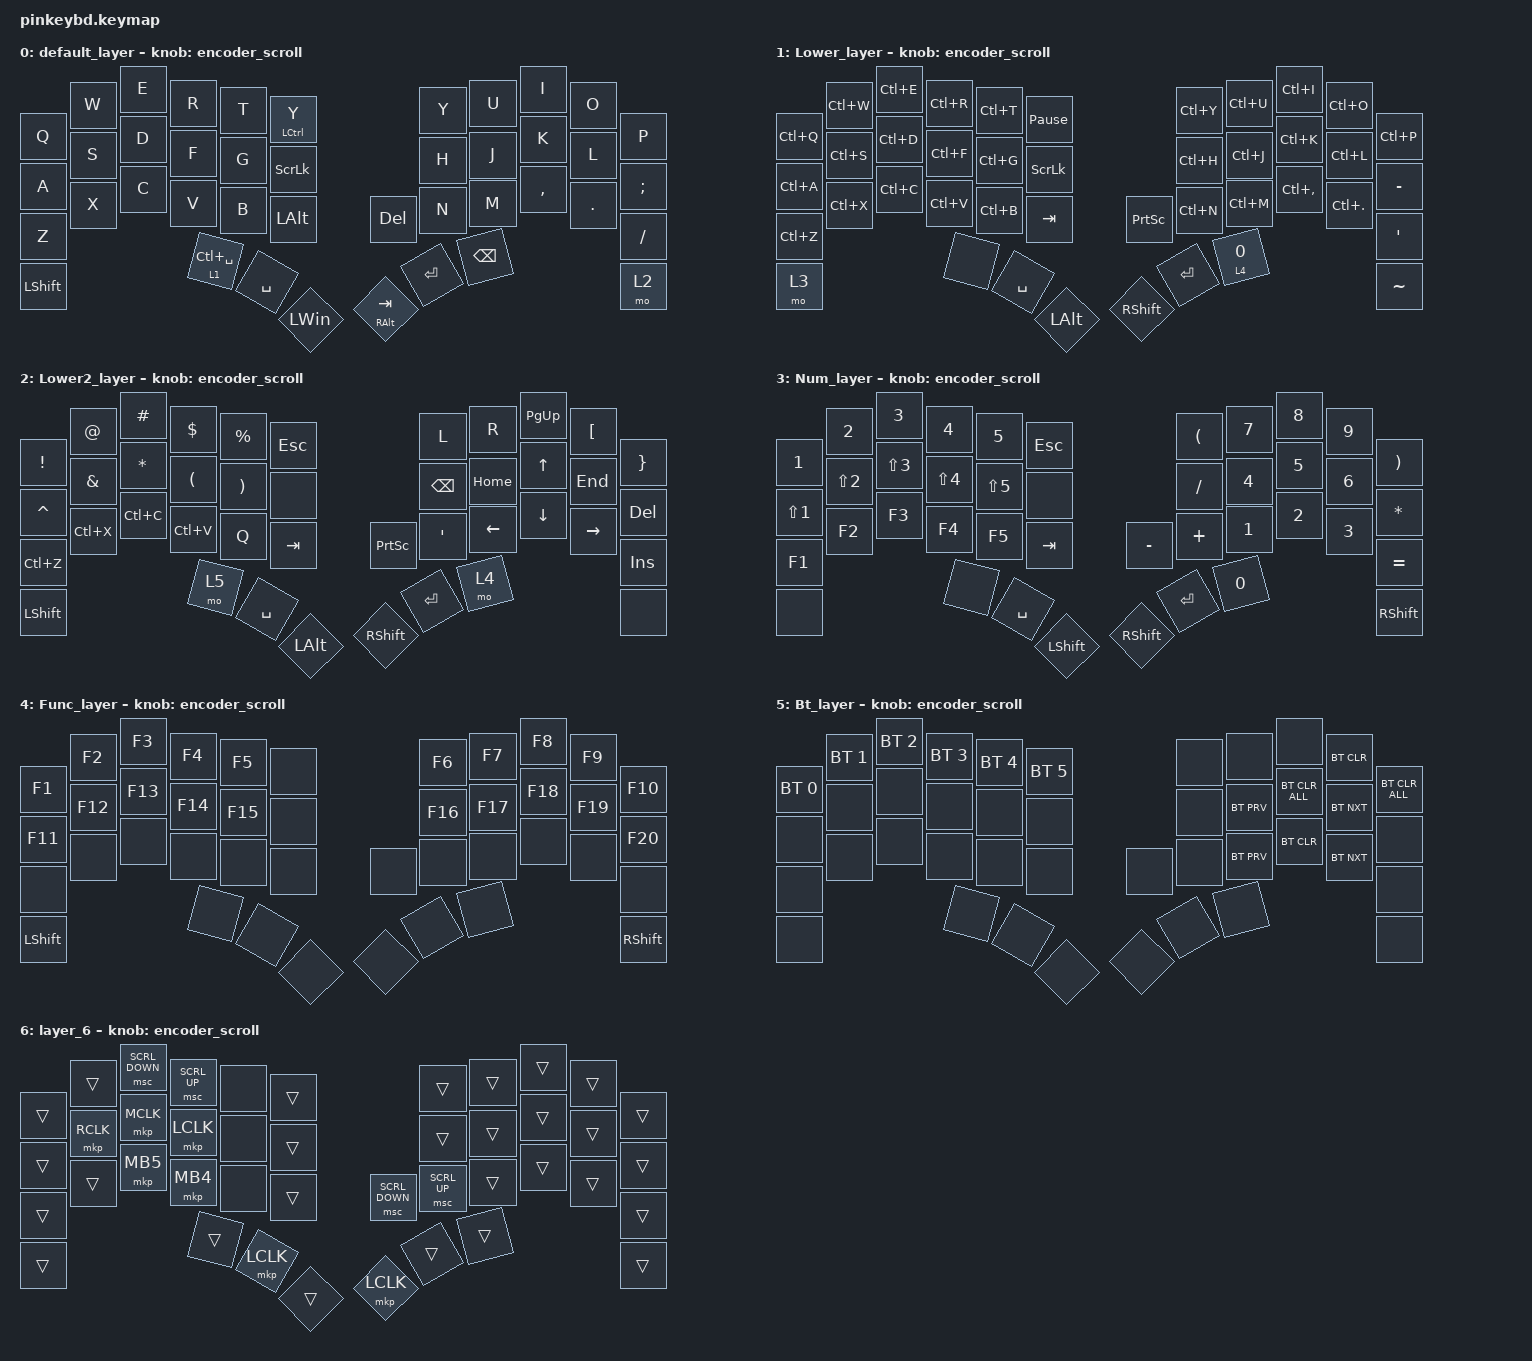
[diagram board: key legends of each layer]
#include <behaviors.dtsi>
#include <dt-bindings/zmk/bt.h>
#include <dt-bindings/zmk/keys.h>
#define ZMK_POINTING_DEFAULT_SCRL_VAL 80
#include <dt-bindings/zmk/pointing.h>


&lt { tapping-term-ms = <140>; };

/ {
    behaviors {
        encoder_scroll: encoder_scroll {
            compatible = "zmk,behavior-sensor-rotate";
            #sensor-binding-cells = <0>;
            bindings = <&msc SCRL_DOWN>, <&msc SCRL_UP>;
            tap-ms = <20>;
        };
    };

    keymap {
        compatible = "zmk,keymap";

        // ---------------------------------------------------------------------------------------------------------------------------------------------------------------------------------------------------------------
        // |        /       |       ,       |       .       |      -        |      ;       |    ESC         |                   |           |       L      |       R       |       D       |       Y       |      P      |
        // |        A       |       O       |       E       |      I        |      U       |    SCROLLLOCK  |                   |           |       G      |       N       |       T       |       S       |      K      |
        // |        X       |       C       |       V       |      W        |      Q       |    TAB         |                   |     F     |       J      |       H       |       M       |       B       |      Z      |
        // |    L_SHIFT     |               |               |   LOWER / Jp  |    Space     |    LEFT_WIN    |                   |  R_SHIFT  |      ENTER   |  LOWER2 / Ja  |               |               |   FUN_L     |
        // ---------------------------------------------------------------------------------------------------------------------------------------------------------------------------------------------------------------

        default_layer {
            bindings = <
&kp Q           &kp W            &kp E      &kp R         &kp T       &mt LCTRL Y        &kp Y      &kp U          &kp I      &kp O       &kp P
&kp A           &kp S            &kp D      &kp F         &kp G       &kp SCROLLLOCK     &kp H      &kp J          &kp K      &kp L       &kp SEMICOLON
&kp Z           &kp X            &kp C      &kp V         &kp B       &kp LEFT_ALT       &kp N      &kp M          &kp COMMA  &kp PERIOD  &kp SLASH
&kp LEFT_SHIFT  &lt 1 LC(SPACE)  &kp SPACE  &kp LEFT_WIN  &kp DELETE  &mt RIGHT_ALT TAB  &kp ENTER  &kp BACKSPACE  &mo 2
            >;

            sensor-bindings = <&encoder_scroll>;
        };

        // ----------------------------------------------------------------------------------------------------------------------------------------------------------------------------------------------------------------
        // |    /           |       ,       |       END     |     （        |      ”        |    PAUSE_BREAK|                  |            |      （       |       ）     |        ↑      |        [      |      ]      |
        // |    HOME        |       C_SAVE  |       END     |       ）      |       U       |    SCROLLLOCK |                  |            |   Backspace   |       ←      |        ↓      |        →      |     DEL     |
        // |    UNDO        |       CUT     |       COPY    |       PASTE   |       Q       |    TAB        |                  |   PSCRN    |    ' / "      |    = / +     |    \ / |      |    ` / ~      |    INS      |
        // |    L_SHIFT     |               |               |       none    |    SPACE      |    LALT       |                  |   RSHIFT   |   ENTER       |       FUN_L  |               |               |    RCTRL    |
        // ----------------------------------------------------------------------------------------------------------------------------------------------------------------------------------------------------------------

        Lower_layer {
            bindings = <
&kp LC(Q)  &kp LC(W)  &kp LC(E)  &kp LC(R)  &kp LC(T)  &kp PAUSE_BREAK  &kp LC(Y)  &kp LC(U)       &kp LC(I)      &kp LC(O)       &kp LC(P)
&kp LC(A)  &kp LC(S)  &kp LC(D)  &kp LC(F)  &kp LC(G)  &kp SCROLLLOCK   &kp LC(H)  &kp LC(J)       &kp LC(K)      &kp LC(L)       &kp MINUS
&kp LC(Z)  &kp LC(X)  &kp LC(C)  &kp LC(V)  &kp LC(B)  &kp TAB          &kp LC(N)  &kp LC(M)       &kp LC(COMMA)  &kp LC(PERIOD)  &kp SQT
&mo 3      &none      &kp SPACE  &kp LALT   &kp PSCRN  &kp RSHIFT       &kp ENTER  &lt 4 NUMBER_0  &kp TILDE
            >;

            sensor-bindings = <&encoder_scroll>;
        };

        // -------------------------------------------------------------------------------------------------------------------------------------------------------------------------------------------------------------
        // |    /           |       ,        |       END     |       {       |       ’      |    ESC        |                  |            |      L      |      R         |    PG_UP      |     {       |      }      |
        // |    HOME        |       C_SAVE   |       END     |       }       |       U      |    LCTRL      |                  |            |  Backspace  |    HOME        |    PG_DN      |    END      |    DEL      |
        // |    UNDO        |       CUT      |       COPY    |       PASTE   |       Q      |    TAB        |                  |      F     |    ' / "    |    = / +       |    \ / |      |    ` / ~    |    INS      |
        // |    L_SHIFT     |                |               |       BT_L    |      SPACE   |    LALT       |                  |   ENTER    |    none     |   R_SHIFT      |               |             |   R_SHIFT   |
        // -------------------------------------------------------------------------------------------------------------------------------------------------------------------------------------------------------------

        Lower2_layer {
            bindings = <
&kp EXCLAMATION  &kp AT_SIGN    &kp HASH      &kp DOLLAR            &kp PERCENT            &kp ESC     &kp L      &kp R     &kp PG_UP  &kp LBKT   &kp RBRC
&kp CARET        &kp AMPERSAND  &kp ASTERISK  &kp LEFT_PARENTHESIS  &kp RIGHT_PARENTHESIS  &none       &kp BSPC   &kp HOME  &kp UP     &kp END    &kp DEL
&kp LC(Z)        &kp LC(X)      &kp LC(C)     &kp LC(V)             &kp Q                  &kp TAB     &kp APOS   &kp LEFT  &kp DOWN   &kp RIGHT  &kp INS
&kp LSHIFT       &mo 5          &kp SPACE     &kp LALT              &kp PSCRN              &kp RSHIFT  &kp ENTER  &mo 4     &none
            >;

            sensor-bindings = <&encoder_scroll>;
        };

        // --------------------------------------------------------------------------------------------------------------------------------------------------------------------------------------------------------------
        // |        1       |      2        |       3       |       4       |       5       |    ESC        |               |            |      6       |      7        |       8       |       9       |       0       |
        // |        !       |      @        |       #       |       $       |       %       |    none       |               |            |      ^       |      &        |       *       |       (       |       )       | 
        // |        F1      |     F2        |     F3        |       F4      |       F5      |    TAB        |               |     F11    |    ' / "     |    = / +      |    \ / |      |    ` / ~      |       INS     |
        // |    L_SHIFT     |               |               | En / LOWER    |    Space      |    LSIHT      |               |   R_SHIFT  |      ENTER   |     none      |               |               |       R_SHIFT |
        // --------------------------------------------------------------------------------------------------------------------------------------------------------------------------------------------------------------

        Num_layer {
            bindings = <
&kp N1      &kp N2      &kp N3      &kp N4      &kp N5      &kp ESC     &kp LEFT_PARENTHESIS  &kp N7        &kp N8        &kp N9        &kp RIGHT_PARENTHESIS
&kp LS(N1)  &kp LS(N2)  &kp LS(N3)  &kp LS(N4)  &kp LS(N5)  &none       &kp SLASH             &kp NUMBER_4  &kp NUMBER_5  &kp NUMBER_6  &kp ASTERISK
&kp F1      &kp F2      &kp F3      &kp F4      &kp F5      &kp TAB     &kp PLUS              &kp NUMBER_1  &kp NUMBER_2  &kp NUMBER_3  &kp EQUAL
&none       &none       &kp SPACE   &kp LSHIFT  &kp MINUS   &kp RSHIFT  &kp ENTER             &kp NUMBER_0  &kp RSHIFT
            >;

            sensor-bindings = <&encoder_scroll>;
        };

        // ---------------------------------------------------------------------------------------------------------------------------------------------------------------------------------
        // |     F1      |     F2     |     F3     |     F4     |    F5      |    none    |                |            |    F6      |    F7      |    F8      |    F9       |     F10     |
        // |     F11     |     F12    |     F13    |     F14    |    F15     |    none    |                |   none     |    F16     |    F17     |    F18     |    F19      |     F20     |
        // |     none    |    none    |    none    |    none    |   none     |    none    |                |   none     |    none    |    none    |    none    |    none     |     none    |
        // |     L_SHIFT |    none    |    none    |    none    |   none     |    none    |                |   none     |    none    |    none    |    none    |    none     |     R_SHIFT |
        // ---------------------------------------------------------------------------------------------------------------------------------------------------------------------------------

        Func_layer {
            bindings = <
&kp F1      &kp F2   &kp F3   &kp F4   &kp F5   &none  &kp F6   &kp F7   &kp F8      &kp F9   &kp F10
&kp F11     &kp F12  &kp F13  &kp F14  &kp F15  &none  &kp F16  &kp F17  &kp F18     &kp F19  &kp F20
&none       &none    &none    &none    &none    &none  &none    &none    &none       &none    &none
&kp LSHIFT  &none    &none    &none    &none    &none  &none    &none    &kp RSHIFT
            >;

            sensor-bindings = <&encoder_scroll>;
        };

        // --------------------------------------------------------------------------------------------------------------------------------------------------------------------------------
        // |    none    |    none    |    none    |    none    |   none     |    none    |                  |            |    none    |    none    |    none    |   none     |    none    |
        // |  BT_SEL 0  |  BT_SEL 1  |  BT_SEL 2  |  BT_SEL 3  |   none     |    none    |                  |            |    none    |    none    |    none    |   BT_CLR   | BT_CLR_ALL |
        // |    none    |    none    |    none    |    none    |   none     |    none    |                  |    none    |    none    |   BT_PRV   |    none    |   BT_NXT   |    none    |
        // |    none    |    none    |    none    |    none    |   none     |    none    |                  |    none    |    none    |    none    |    none    |   none     |    none    |
        // --------------------------------------------------------------------------------------------------------------------------------------------------------------------------------

        Bt_layer {
            bindings = <
&bt BT_SEL 0  &bt BT_SEL 1  &bt BT_SEL 2  &bt BT_SEL 3  &bt BT_SEL 4  &bt BT_SEL 5  &none  &none       &none           &bt BT_CLR  &bt BT_CLR_ALL
&none         &none         &none         &none         &none         &none         &none  &bt BT_PRV  &bt BT_CLR_ALL  &bt BT_NXT  &none
&none         &none         &none         &none         &none         &none         &none  &bt BT_PRV  &bt BT_CLR      &bt BT_NXT  &none
&none         &none         &none         &none         &none         &none         &none  &none       &none
            >;

            sensor-bindings = <&encoder_scroll>;
        };

        layer_6 {
            bindings = <
&trans  &trans     &msc SCRL_DOWN  &msc SCRL_UP  &none           &trans     &trans        &trans  &trans  &trans  &trans
&trans  &mkp RCLK  &mkp MCLK       &mkp LCLK     &none           &trans     &trans        &trans  &trans  &trans  &trans
&trans  &trans     &mkp MB5        &mkp MB4      &none           &trans     &msc SCRL_UP  &trans  &trans  &trans  &trans
&trans  &trans     &mkp LCLK       &trans        &msc SCRL_DOWN  &mkp LCLK  &trans        &trans  &trans
            >;

            sensor-bindings = <&encoder_scroll>;
        };
    };
};
